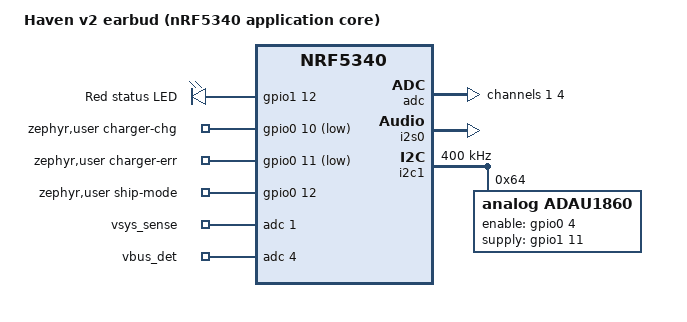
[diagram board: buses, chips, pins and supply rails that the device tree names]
/*
 * Haven v2 earbud, application core: Raytac MDBT53V-1M (nRF5340), ADAU1860 codec,
 * SPH0641 PDM mic (into the codec), Nordic nPM1100 PMIC, charged through two case
 * pogo pins. No USB, button, UART, flash, SD, IMU or fuel gauge.
 */

/dts-v1/;
#include <nordic/nrf5340_cpuapp_qkaa.dtsi>
#include "haven_v2_nrf5340_cpuapp-pinctrl.dtsi"

/ {
	model = "Haven v2 earbud (nRF5340 application core)";
	compatible = "haven,haven-v2-nrf5340-cpuapp";

	chosen {
		zephyr,sram = &sram0_image;
		zephyr,flash = &flash0;
		zephyr,code-partition = &slot0_partition;
		zephyr,sram-secure-partition = &sram0_s;
		zephyr,sram-non-secure-partition = &sram0_ns;
		zephyr,bt-hci = &bt_hci_ipc0;
		watchdog0 = &wdt0;
	};

	leds {
		compatible = "gpio-leds";
		/* Red status LED, switched by Q2 (gate high = on). */
		led_status: led_status {
			gpios = <&gpio1 12 GPIO_ACTIVE_HIGH>;
			label = "Red status LED";
		};
	};

	aliases {
		led0 = &led_status;
		watchdog0 = &wdt0;
	};

	/*
	 * nPM1100 signals and ADC inputs. No driver uses these yet; they are here so
	 * charger/battery code has one place to read the pins from
	 * (DT_PATH(zephyr_user), e.g. GPIO_DT_SPEC_GET(DT_PATH(zephyr_user), charger_chg_gpios)).
	 *  - CHG / ERR: nPM1100 open-drain outputs, low = charging / error.
	 *  - SHPACT: high puts the PMIC in ship mode (it leaves ship mode when the
	 *    bud is put back in the case and VBUS appears).
	 *  - io-channels: battery level (VSYS divider, AIN1) and in-case detect (VBUS divider, AIN4).
	 */
	zephyr,user {
		charger-chg-gpios = <&gpio0 10 (GPIO_ACTIVE_LOW | GPIO_PULL_UP)>;
		charger-err-gpios = <&gpio0 11 (GPIO_ACTIVE_LOW | GPIO_PULL_UP)>;
		ship-mode-gpios = <&gpio0 12 GPIO_ACTIVE_HIGH>;
		io-channels = <&adc 1>, <&adc 4>;
		io-channel-names = "vsys_sense", "vbus_det";
	};
};

&clock {
	/* 12.288 MHz audio PLL for an exact 48 kHz I2S frame clock. */
	hfclkaudio-frequency = <12288000>;
};

/* 32 MHz crystal inside the module. Same setting as v1's MDBT53-1M; confirm against the
 * MDBT53V-1M spec before production. */
&hfxo {
	load-capacitors = "internal";
	load-capacitance-femtofarad = <8000>;
};

/* 32.768 kHz crystal with external 9 pF caps (C2/C14), as on v1. */
&lfxo {
	load-capacitors = "external";
};

&gpiote {
	status = "okay";
};

&gpio0 {
	status = "okay";
};

&gpio1 {
	status = "okay";
};

&adc {
	status = "okay";
	#address-cells = <1>;
	#size-cells = <0>;

	/* Dividers are ~1 MOhm source impedance, so use the longest acquisition time. */
	channel@1 {
		reg = <1>;
		zephyr,gain = "ADC_GAIN_1_6";
		zephyr,reference = "ADC_REF_INTERNAL";
		zephyr,acquisition-time = <ADC_ACQ_TIME(ADC_ACQ_TIME_MICROSECONDS, 40)>;
		zephyr,input-positive = <NRF_SAADC_AIN1>; /* P0.05, VSYS_SENSE */
		zephyr,resolution = <12>;
	};

	channel@4 {
		reg = <4>;
		zephyr,gain = "ADC_GAIN_1_6";
		zephyr,reference = "ADC_REF_INTERNAL";
		zephyr,acquisition-time = <ADC_ACQ_TIME(ADC_ACQ_TIME_MICROSECONDS, 40)>;
		zephyr,input-positive = <NRF_SAADC_AIN4>; /* P0.25, VBUS_DET */
		zephyr,resolution = <12>;
	};
};

&i2s0 {
	compatible = "nordic,nrf-i2s";
	status = "okay";
	pinctrl-0 = <&i2s0_default>;
	pinctrl-1 = <&i2s0_sleep>;
	pinctrl-names = "default", "sleep";
	clock-source = "ACLK";
};

&i2c1 {
	compatible = "nordic,nrf-twim";
	status = "okay";
	pinctrl-0 = <&i2c1_default>;
	pinctrl-1 = <&i2c1_sleep>;
	pinctrl-names = "default", "sleep";
	clock-frequency = <I2C_BITRATE_FAST>;

	adau1860: adau1860@64 {
		compatible = "analog,adau1860";
		reg = <0x64>;
		enable-gpios = <&gpio0 4 GPIO_ACTIVE_HIGH>;   /* PD# (ball E4) */
		/* U3 load switch (SENSORS_ENABLE): powers the codec and the mic. */
		supply-gpios = <&gpio1 11 GPIO_ACTIVE_HIGH>;
		supply-delay-us = <300>;
	};
};

#include <nordic/nrf5340_cpuapp_partition.dtsi>
